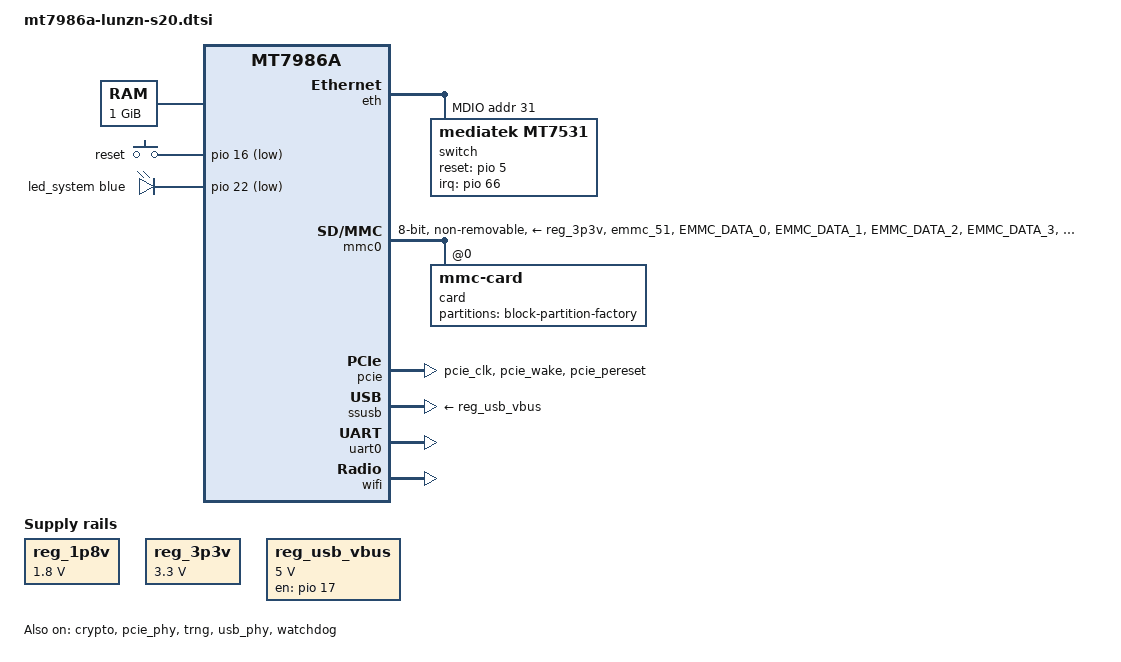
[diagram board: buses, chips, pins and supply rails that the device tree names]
// SPDX-License-Identifier: GPL-2.0-or-later OR MIT

#include <dt-bindings/gpio/gpio.h>
#include <dt-bindings/input/input.h>
#include <dt-bindings/leds/common.h>
#include <dt-bindings/pinctrl/mt65xx.h>

#include "mt7986a.dtsi"

/ {
	aliases {
		serial0 = &uart0;
		led-boot = &led_system;
		led-failsafe = &led_system;
		led-running = &led_system;
		led-upgrade = &led_system;
	};

	chosen {
		stdout-path = "serial0:115200n8";
		bootargs-append = " root=PARTLABEL=rootfs rootwait";
	};

	memory@40000000 {
		reg = <0 0x40000000 0 0x40000000>;
		device_type = "memory";
	};

	keys {
		compatible = "gpio-keys";

		reset {
			label = "reset";
			linux,code = <KEY_RESTART>;
			gpios = <&pio 16 GPIO_ACTIVE_LOW>;
		};
	};

	leds {
		compatible = "gpio-leds";

		led_system: system {
			color = <LED_COLOR_ID_BLUE>;
			function = LED_FUNCTION_STATUS;
			gpios = <&pio 22 GPIO_ACTIVE_LOW>;
		};
	};

	reg_1p8v: regulator-1p8v {
		compatible = "regulator-fixed";
		regulator-name = "fixed-1.8V";
		regulator-min-microvolt = <1800000>;
		regulator-max-microvolt = <1800000>;
		regulator-boot-on;
		regulator-always-on;
	};

	reg_3p3v: regulator-3p3v {
		compatible = "regulator-fixed";
		regulator-name = "fixed-3.3V";
		regulator-min-microvolt = <3300000>;
		regulator-max-microvolt = <3300000>;
		regulator-boot-on;
		regulator-always-on;
	};

	reg_usb_vbus: regulator-usb-vbus {
		compatible = "regulator-fixed";
		regulator-name = "usb_vbus";
		regulator-min-microvolt = <5000000>;
		regulator-max-microvolt = <5000000>;
		gpios = <&pio 17 GPIO_ACTIVE_HIGH>;
		enable-active-high;
		regulator-boot-on;
	};
};

&crypto {
	status = "okay";
};

&eth {
	status = "okay";

	gmac0: mac@0 {
		compatible = "mediatek,eth-mac";
		reg = <0>;
		phy-mode = "2500base-x";

		nvmem-cells = <&macaddr_factory_2a>;
		nvmem-cell-names = "mac-address";

		fixed-link {
			speed = <2500>;
			full-duplex;
			pause;
		};
	};

	mdio: mdio-bus {
		#address-cells = <1>;
		#size-cells = <0>;
	};
};

&mdio {
	switch: switch@1f {
		compatible = "mediatek,mt7531";
		reg = <31>;
		reset-gpios = <&pio 5 GPIO_ACTIVE_HIGH>;
		interrupt-controller;
		#interrupt-cells = <1>;
		interrupt-parent = <&pio>;
		interrupts = <66 IRQ_TYPE_LEVEL_HIGH>;
	};
};

&mmc0 {
	pinctrl-names = "default", "state_uhs";
	pinctrl-0 = <&mmc0_pins_default>;
	pinctrl-1 = <&mmc0_pins_uhs>;
	#address-cells = <1>;
	#size-cells = <0>;
	bus-width = <8>;
	cap-mmc-highspeed;
	hs400-ds-delay = <0x14014>;
	max-frequency = <200000000>;
	mmc-hs200-1_8v;
	mmc-hs400-1_8v;
	non-removable;
	vmmc-supply = <&reg_3p3v>;
	vqmmc-supply = <&reg_1p8v>;
	status = "okay";

	card@0 {
		compatible = "mmc-card";
		reg = <0>;

		block {
			compatible = "block-device";

			partitions {
				block-partition-factory {
					partname = "factory";

					nvmem-layout {
						compatible = "fixed-layout";
						#address-cells = <1>;
						#size-cells = <1>;

						eeprom_factory_0: eeprom@0 {
							reg = <0x0 0x1000>;
						};

						macaddr_factory_24: macaddr@24 {
							reg = <0x24 0x6>;
						};

						macaddr_factory_2a: macaddr@2a {
							reg = <0x2a 0x6>;
						};
					};
				};
			};
		};
	};
};

&pcie {
	pinctrl-names = "default";
	pinctrl-0 = <&pcie_pins>;
	status = "okay";
};

&pcie_phy {
	status = "okay";
};

&pio {
	mmc0_pins_default: mmc0-pins {
		mux {
			function = "emmc";
			groups = "emmc_51";
		};
		conf-cmd-dat {
			pins = "EMMC_DATA_0", "EMMC_DATA_1", "EMMC_DATA_2",
			       "EMMC_DATA_3", "EMMC_DATA_4", "EMMC_DATA_5",
			       "EMMC_DATA_6", "EMMC_DATA_7", "EMMC_CMD";
			input-enable;
			drive-strength = <MTK_DRIVE_4mA>;
			bias-pull-up = <MTK_PUPD_SET_R1R0_01>;	/* pull-up 10K */
		};
		conf-clk {
			pins = "EMMC_CK";
			drive-strength = <MTK_DRIVE_6mA>;
			bias-pull-down = <MTK_PUPD_SET_R1R0_10>;	/* pull-down 50K */
		};
		conf-ds {
			pins = "EMMC_DSL";
			bias-pull-down = <MTK_PUPD_SET_R1R0_10>;	/* pull-down 50K */
		};
		conf-rst {
			pins = "EMMC_RSTB";
			drive-strength = <MTK_DRIVE_4mA>;
			bias-pull-up = <MTK_PUPD_SET_R1R0_01>;	/* pull-up 10K */
		};
	};

	mmc0_pins_uhs: mmc0-uhs-pins {
		mux {
			function = "emmc";
			groups = "emmc_51";
		};
		conf-cmd-dat {
			pins = "EMMC_DATA_0", "EMMC_DATA_1", "EMMC_DATA_2",
			       "EMMC_DATA_3", "EMMC_DATA_4", "EMMC_DATA_5",
			       "EMMC_DATA_6", "EMMC_DATA_7", "EMMC_CMD";
			input-enable;
			drive-strength = <MTK_DRIVE_4mA>;
			bias-pull-up = <MTK_PUPD_SET_R1R0_01>;	/* pull-up 10K */
		};
		conf-clk {
			pins = "EMMC_CK";
			drive-strength = <MTK_DRIVE_6mA>;
			bias-pull-down = <MTK_PUPD_SET_R1R0_10>;	/* pull-down 50K */
		};
		conf-ds {
			pins = "EMMC_DSL";
			bias-pull-down = <MTK_PUPD_SET_R1R0_10>;	/* pull-down 50K */
		};
		conf-rst {
			pins = "EMMC_RSTB";
			drive-strength = <MTK_DRIVE_4mA>;
			bias-pull-up = <MTK_PUPD_SET_R1R0_01>;	/* pull-up 10K */
		};
	};

	pcie_pins: pcie-pins {
		mux {
			function = "pcie";
			groups = "pcie_clk", "pcie_wake", "pcie_pereset";
		};
	};

	wf_led_pins: wf-led-pins {
		mux {
			function = "led";
			groups = "wifi_led";
		};
	};
};

&ssusb {
	vusb33-supply = <&reg_3p3v>;
	vbus-supply = <&reg_usb_vbus>;
	status = "okay";
};

&trng {
	status = "okay";
};

&uart0 {
	status = "okay";
};

&usb_phy {
	status = "okay";
};

&watchdog {
	status = "okay";
};

&wifi {
	nvmem-cells = <&eeprom_factory_0>;
	nvmem-cell-names = "eeprom";
	status = "okay";

	led {
		led-active-low;
	};
};
